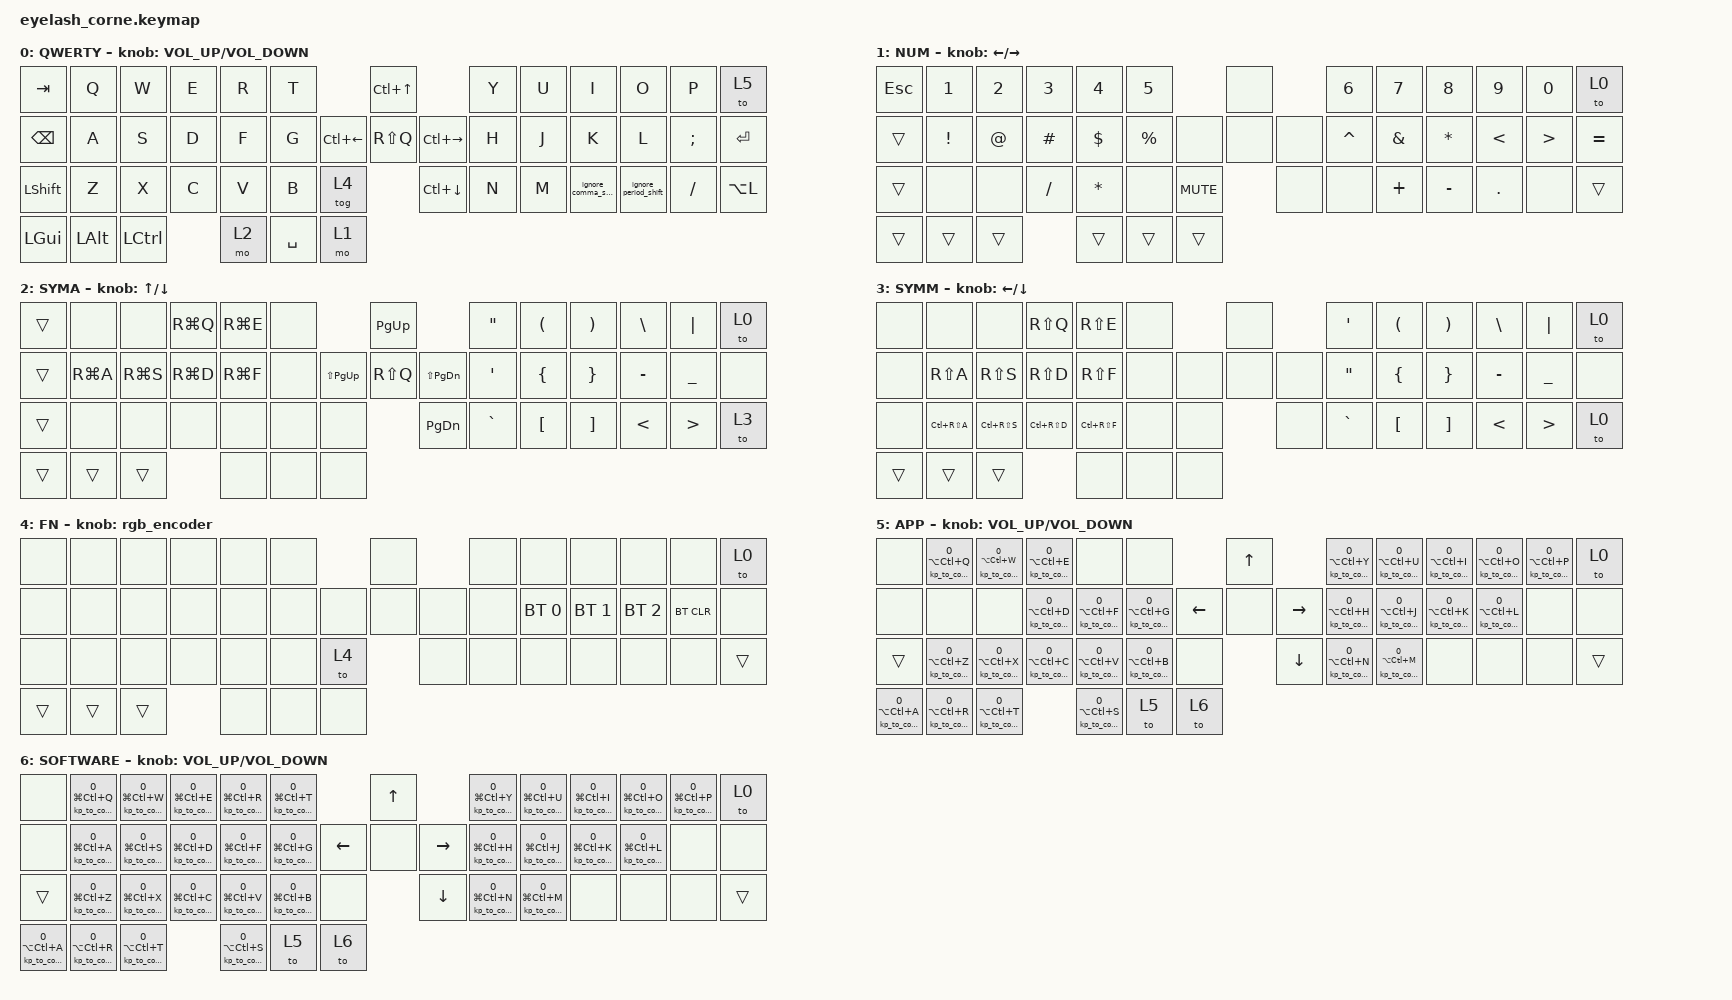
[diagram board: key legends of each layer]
#include <input/processors.dtsi>
#include <zephyr/dt-bindings/input/input-event-codes.h>
#include <behaviors.dtsi>
#include <dt-bindings/zmk/bt.h>
#include <dt-bindings/zmk/keys.h>
#include <dt-bindings/zmk/outputs.h>
#include <dt-bindings/zmk/pointing.h>
#include <dt-bindings/zmk/ext_power.h>
#include <dt-bindings/zmk/rgb.h>\

&sk {
    release-after-ms = <2000>;
    quick-release;
    /delete-property/ ignore-modifiers;
};

&msc_input_listener { 
    input-processors = <&zip_scroll_scaler 2 1>;
};
&msc {
    acceleration-exponent = <1>;
    time-to-max-speed-ms = <100>;
    delay-ms = <0>;
};

&soft_off {
    hold-time-ms = <2000>;
};

/ {
    behaviors {
        kp_to_combo: kp_to_combo {
            compatible = "zmk,behavior-macro-two-param";
            #binding-cells = <2>;  // Expects layer ID (param 1) + keycode (param 2) when bound
            wait-ms = <10>;        // 10ms delay between toggle and keypress
            bindings
                = <&macro_param_1to1>                // Route param 1 to the next behavior's arg
                , <&to MACRO_PLACEHOLDER>            // Toggle layer (placeholder gets param 1)
                , <&macro_param_2to1>                // Route param 2 to the next behavior's arg
                , <&kp MACRO_PLACEHOLDER>            // Press keycode (placeholder gets param 2)
                ;
        };

        ignore_comma_shift_macro: ignore_comma_shift_macro {
            compatible = "zmk,behavior-macro";
            #binding-cells = <0>;
            bindings =
                <&macro_release &kp LSHFT>,
                <&macro_tap &kp COMMA>,
                <&macro_press &kp LSHFT>
                ;
        };

        ignore_comma_shift: ignore_comma_shift {
            compatible = "zmk,behavior-mod-morph";
            #binding-cells = <0>;
            bindings = <&kp COMMA>, <&ignore_comma_shift_macro>;
            mods = <(MOD_LSFT | MOD_RSFT)>;
            keep-mods = <0>;
        };
        
        ignore_period_shift_macro: ignore_period_shift_macro {
            compatible = "zmk,behavior-macro";
            #binding-cells = <0>;
            bindings =
                <&macro_release &kp LSHFT>,
                <&macro_tap &kp PERIOD>,
                <&macro_press &kp LSHFT>
                ;
        };

        ignore_period_shift: ignore_period_shift {
            compatible = "zmk,behavior-mod-morph";
            #binding-cells = <0>;
            bindings = <&kp PERIOD>, <&ignore_period_shift_macro>;
            mods = <(MOD_LSFT | MOD_RSFT)>;
            keep-mods = <0>;
        };
    };

    rgb_encoder: rgb_encoder {
        compatible = "zmk,behavior-sensor-rotate";
        #sensor-binding-cells = <0>;
        bindings = <&rgb_ug RGB_BRI>, <&rgb_ug RGB_BRD>;
    };

    scroll_encoder: scroll_encoder {
        compatible = "zmk,behavior-sensor-rotate";
        #sensor-binding-cells = <0>;
        bindings = <&msc SCRL_DOWN>, <&msc SCRL_UP>;

        tap-ms = <100>;
    };

    combos {
        compatible = "zmk,combos";

        softoff {
            bindings = <&soft_off>;
            key-positions = <1 15 29>;
        };
    };

    keymap {
        compatible = "zmk,keymap";

        default_layer {
            display-name = "QWERTY";
            bindings = <
&kp TAB    &kp Q  &kp W  &kp E     &kp R  &kp T                                   &kp LC(UP)                      &kp Y     &kp U     &kp I                  &kp O                   &kp P        &to 5
&kp BSPC   &kp A  &kp S  &kp D     &kp F  &kp G                     &kp LC(LEFT)  &kp RS(Q)      &kp LC(RIGHT)    &kp H     &kp J     &kp K                  &kp L                   &kp SEMI     &kp ENTER
&kp LSHFT  &kp Z  &kp X  &kp C     &kp V  &kp B     &tog 4                        &kp LC(DOWN)                    &kp N     &kp M     &ignore_comma_shift    &ignore_period_shift    &kp FSLH     &kp LA(L)
&kp LGUI    &kp LALT    &kp LCTRL     &mo 2    &kp SPACE    &mo 1
            >;

             sensor-bindings = <&inc_dec_kp C_VOLUME_UP C_VOLUME_DOWN>;
        };

        number {
            display-name = "NUM";
            bindings = <
&kp ESC   &kp N1           &kp N2          &kp N3        &kp N4        &kp N5                                 &none                  &kp N6           &kp N7           &kp N8           &kp N9           &kp N0     &to 0
&trans    &kp EXCL         &kp AT          &kp HASH      &kp DLLR      &kp PRCNT                   &none      &none      &none       &kp CARET        &kp AMPS         &kp STAR         &kp LT           &kp GT     &kp EQUAL
&trans    &none            &none           &kp FSLH      &kp STAR      &none        &kp C_MUTE                &none                  &none            &kp PLUS         &kp MINUS        &kp PERIOD       &none      &trans
&trans        &trans        &trans      &trans        &trans        &trans
            >;

            sensor-bindings = <&inc_dec_kp LEFT RIGHT>;
        };

        // Karabiner Elements maps CMD + WASD to arrow keys. CMD + QE to switch windows/desktops.
        // Karabiner Elements maps RSHFT + WASD & QE to mouse & clicks
        symbol_arrow {
            display-name = "SYMA";
            bindings = <
&trans     &none       &none       &kp RG(Q)   &kp RG(E)   &none                                &kp PG_UP                        &kp DQT      &kp LPAR      &kp RPAR      &kp BSLH   &kp PIPE      &to 0 
&trans     &kp RG(A)   &kp RG(S)   &kp RG(D)   &kp RG(F)   &none               &kp LS(PG_UP)    &kp RS(Q)      &kp LS(PG_DN)     &kp SQT      &kp LBRC      &kp RBRC      &kp MINUS  &kp UNDER     &none      
&trans     &none       &none       &none       &none       &none     &none                      &kp PG_DN                        &kp GRAVE    &kp LBKT      &kp RBKT      &kp LT     &kp GT        &to 3
&trans     &trans     &trans       &none       &none       &none
            >;  

            sensor-bindings = <&inc_dec_kp UP DOWN>;
        };

        // Karabiner Elemenets maps RSHFT + WASD & QE to mouse & clicks. LCTRL slows down mouse.
        symbol_mouse {
            display-name = "SYMM";
            bindings = <
&none      &none           &none           &kp RS(Q)       &kp RS(E)       &none                            &none                  &kp SQT      &kp LPAR      &kp RPAR      &kp BSLH   &kp PIPE      &to 0
&none      &kp RS(A)       &kp RS(S)       &kp RS(D)       &kp RS(F)       &none                 &none      &none      &none       &kp DQT      &kp LBRC      &kp RBRC      &kp MINUS  &kp UNDER     &none      
&none      &kp LC(RS(A))   &kp LC(RS(S))   &kp LC(RS(D))   &kp LC(RS(F))   &none       &none                &none                  &kp GRAVE    &kp LBKT      &kp RBKT      &kp LT     &kp GT        &to 0
&trans       &trans     &trans     &none      &none      &none 
            >;

            sensor-bindings = <&inc_dec_kp LEFT DOWN>;
        };

        function {
            display-name = "FN";
            bindings = <
&none         &none      &none      &none      &none      &none                              &none                 &none      &none           &none          &none          &none        &to 0
&none         &none      &none      &none      &none      &none                   &none      &none      &none      &none      &bt BT_SEL 0    &bt BT_SEL 1   &bt BT_SEL 2   &bt BT_CLR   &none
&none         &none      &none      &none      &none      &none       &to 4                  &none                 &none      &none           &none          &none          &none        &trans
&trans        &trans        &trans      &none      &none      &none
            >;

            sensor-bindings = <&rgb_encoder>;
        };

        // Raycast maps LALT + LCTRL + ALPHA_CHAR to app.
        switcher_app {
            display-name = "APP";
            bindings = <
&none      &kp_to_combo 0 LA(LC(Q))      &kp_to_combo 0 LA(LC(W))      &kp_to_combo 0 LA(LC(E))      &none                         &none                                                  &kp UP                     &kp_to_combo 0 LA(LC(Y))      &kp_to_combo 0 LA(LC(U))      &kp_to_combo 0 LA(LC(I))      &kp_to_combo 0 LA(LC(O))      &kp_to_combo 0 LA(LC(P))      &to 0
&none      &none                         &none                         &kp_to_combo 0 LA(LC(D))      &kp_to_combo 0 LA(LC(F))      &kp_to_combo 0 LA(LC(G))                   &kp LEFT    &none        &kp RIGHT     &kp_to_combo 0 LA(LC(H))      &kp_to_combo 0 LA(LC(J))      &kp_to_combo 0 LA(LC(K))      &kp_to_combo 0 LA(LC(L))      &none                         &none
&trans     &kp_to_combo 0 LA(LC(Z))      &kp_to_combo 0 LA(LC(X))      &kp_to_combo 0 LA(LC(C))      &kp_to_combo 0 LA(LC(V))      &kp_to_combo 0 LA(LC(B))       &none                   &kp DOWN                   &kp_to_combo 0 LA(LC(N))      &kp_to_combo 0 LA(LC(M))      &none                         &none                         &none                         &trans
&kp_to_combo 0 LA(LC(A))      &kp_to_combo 0 LA(LC(R))      &kp_to_combo 0 LA(LC(T))      &kp_to_combo 0 LA(LC(S))      &to 5      &to 6
            >;

            sensor-bindings = <&inc_dec_kp C_VOLUME_UP C_VOLUME_DOWN>;
        };

        // Raycast maps LGUI + LCTRL + ALPHA_CHAR to software.
        switcher_software {
            display-name = "SOFTWARE";
            bindings = <
&none      &kp_to_combo 0 LG(LC(Q))      &kp_to_combo 0 LG(LC(W))      &kp_to_combo 0 LG(LC(E))      &kp_to_combo 0 LG(LC(R))      &kp_to_combo 0 LG(LC(T))                              &kp UP                      &kp_to_combo 0 LG(LC(Y))      &kp_to_combo 0 LG(LC(U))      &kp_to_combo 0 LG(LC(I))      &kp_to_combo 0 LG(LC(O))      &kp_to_combo 0 LG(LC(P))      &to 0
&none      &kp_to_combo 0 LG(LC(A))      &kp_to_combo 0 LG(LC(S))      &kp_to_combo 0 LG(LC(D))      &kp_to_combo 0 LG(LC(F))      &kp_to_combo 0 LG(LC(G))                   &kp LEFT   &none        &kp RIGHT      &kp_to_combo 0 LG(LC(H))      &kp_to_combo 0 LG(LC(J))      &kp_to_combo 0 LG(LC(K))      &kp_to_combo 0 LG(LC(L))      &none                         &none
&trans     &kp_to_combo 0 LG(LC(Z))      &kp_to_combo 0 LG(LC(X))      &kp_to_combo 0 LG(LC(C))      &kp_to_combo 0 LG(LC(V))      &kp_to_combo 0 LG(LC(B))       &none                  &kp DOWN                    &kp_to_combo 0 LG(LC(N))      &kp_to_combo 0 LG(LC(M))      &none                         &none                         &none                         &trans
&kp_to_combo 0 LA(LC(A))      &kp_to_combo 0 LA(LC(R))      &kp_to_combo 0 LA(LC(T))      &kp_to_combo 0 LA(LC(S))      &to 5      &to 6
            >;

            sensor-bindings = <&inc_dec_kp C_VOLUME_UP C_VOLUME_DOWN>;
        };
    };
};
